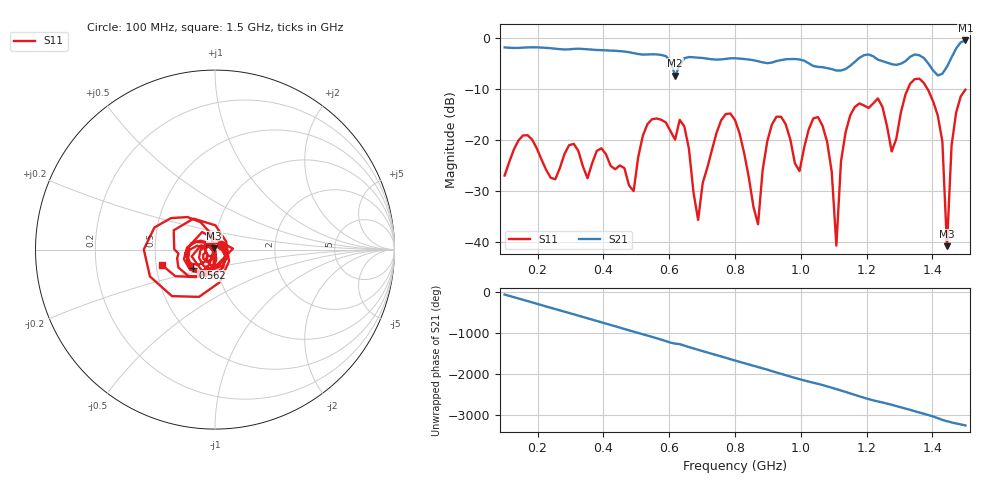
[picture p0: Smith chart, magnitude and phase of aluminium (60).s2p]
! NanoVNA-App
! Date: 2025-09-25 14:55:44
! Start: 100MHz Stop: 1,5GHz Points: 101
! S-Parameter data: F S11 S21 S12 S22
# Hz S RI R 50
!  Frequency  S11_Real  S11_Imag  S21_Real  S21_Imag  S12_Real  S12_Imag  S22_Real  S22_Imag
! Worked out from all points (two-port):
!   101 points, 100 MHz to 1.5 GHz, reference 50 ohm
!   highest |S21| = -0.56 dB at 1.5 GHz (marker M1); lowest = -7.4 dB at 618 MHz (marker M2)
!   |S21| within 3 dB of the highest: start of sweep to 585.7 MHz; 1.461 GHz to end of sweep (the widest 2 of 4)
!   lowest |S11| = -40.8 dB at 1.444 GHz (marker M3), VSWR 1.02, Z = 49.5 + j0.749 ohm
!   |S11| at or under -10 dB: start of sweep to 1.326 GHz; 1.384 GHz to end of sweep
!   S12 and S22 are empty: the file has one direction only
!   S11 on the Smith chart (normalised r, x): 100 MHz: 1.07, +0.06; 562 MHz: 0.76, -0.16; 1.5 GHz: 0.53, -0.10
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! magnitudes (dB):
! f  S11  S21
! 100 MHz  -27.0  -1.9
! 338 MHz  -25.2  -2.2
! 492 MHz  -30.0  -3.1
! 562 MHz  -15.8  -3.3
! 576 MHz  -16.1  -3.4
! 618 MHz  -20.0  -7.4
! 688 MHz  -35.7  -3.9
! 800 MHz  -16.1  -4.0
! 870 MHz  -36.5  -4.6
! 912 MHz  -17.0  -4.9
! 996 MHz  -26.1  -4.3
! 1.038 GHz  -15.8  -5.6
! 1.08 GHz  -20.4  -6.0
! 1.108 GHz  -40.7  -6.4
! 1.122 GHz  -24.2  -6.4
! 1.164 GHz  -13.6  -4.8
! 1.276 GHz  -22.3  -5.2
! 1.388 GHz  -10.4  -5.1
! 1.43 GHz  -20.3  -7.1
! 1.444 GHz  -40.8  -5.7
! 1.458 GHz  -21.1  -3.9
! 1.5 GHz  -10.2  -0.6
